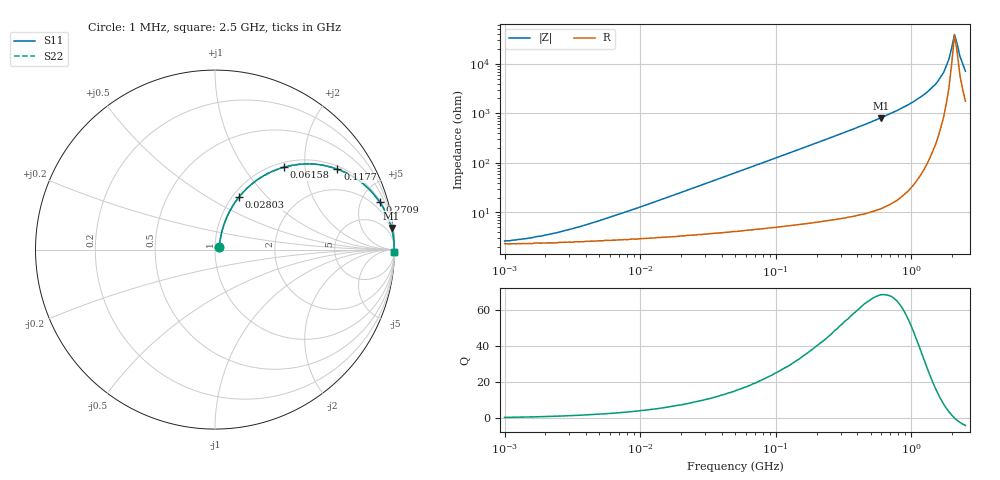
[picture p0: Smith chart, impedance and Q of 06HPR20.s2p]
# MHz S MA R 50
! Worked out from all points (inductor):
!   170 points, 1 MHz to 2.5 GHz, reference 50 ohm
!   read as one part in series: L = 200 nH near 6.673 MHz
!   highest Q = 68.4 at 595.2 MHz (marker M1), where L = 217 nH
!   self-resonance near 2.077 GHz
!   S11 on the Smith chart (normalised r, x): 1 MHz: 1.05, +0.03; 28.03 MHz: 1.07, +0.71; 61.58 MHz: 1.09, +1.55; 117.7 MHz: 1.11, +2.97; 270.9 MHz: 1.13, +6.93; 2.5 GHz: open
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1  0.026 27.9  0.977 -0.7  0.977 -0.7  0.026 27.9
1.825  0.032 42.4  0.976 -1.3  0.976 -1.3  0.032 42.4
3.829  0.053 59.0  0.974 -2.7  0.974 -2.7  0.053 59.0
13.998  0.171 70.3  0.956 -9.7  0.956 -9.7  0.171 70.3
28.031  0.324 65.4  0.914 -18.8  0.914 -18.8  0.324 65.4
51.171  0.527 54.6  0.817 -31.7  0.817 -31.7  0.527 54.6
61.581  0.597 50.2  0.769 -36.6  0.769 -36.6  0.597 50.2
85.151  0.716 41.8  0.667 -45.6  0.667 -45.6  0.716 41.8
117.743  0.816 33.3  0.55 -54.7  0.55 -54.7  0.816 33.3
187.066  0.913 22.6  0.385 -65.9  0.385 -65.9  0.913 22.6
270.922  0.956 16.0  0.276 -72.8  0.276 -72.8  0.956 16.0
595.181  0.991 7.0  0.122 -82.2  0.122 -82.2  0.991 7.0
683.861  0.993 5.9  0.103 -83.2  0.103 -83.2  0.993 5.9
1037.345  0.997 3.3  0.058 -85.5  0.058 -85.5  0.997 3.3
1248.383  0.998 2.3  0.041 -85.9  0.041 -85.9  0.998 2.3
1502.354  0.998 1.5  0.026 -85.1  0.026 -85.1  0.998 1.5
1726.199  0.998 0.8  0.015 -82.0  0.015 -82.0  0.998 0.8
1893.665  0.998 0.4  0.007896 -73.9  0.007896 -73.9  0.998 0.4
2077.377  0.998 0.0  0.002548 -13.4  0.002548 -13.4  0.998 0.0
2175.813  0.997 -0.2  0.003957 47.1  0.003957 47.1  0.997 -0.2
2278.913  0.997 -0.4  0.007036 65.2  0.007036 65.2  0.997 -0.4
2500  0.996 -0.8  0.014 74.8  0.014 74.8  0.996 -0.8
